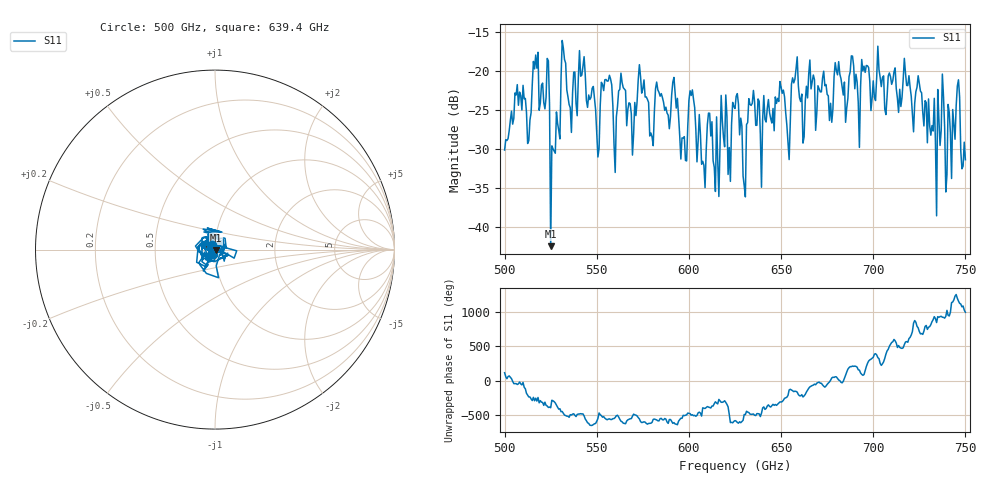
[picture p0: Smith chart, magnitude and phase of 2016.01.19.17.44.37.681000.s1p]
!Created with skrf (http://scikit-rf.org).
# GHz S RI R 50.0
!freq ReS11 ImS11
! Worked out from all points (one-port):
!   401 points, 500 GHz to 750 GHz, reference 50 ohm
!   lowest |S11| = -42.5 dB at 525 GHz (marker M1), VSWR 1.02, Z = 50.7 - j0.364 ohm
!   |S11| at or under -10 dB: start of sweep to end of sweep
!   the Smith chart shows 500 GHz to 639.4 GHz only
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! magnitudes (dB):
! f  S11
! 500 GHz  -30.1
! 506.9 GHz  -21.7
! 513.1 GHz  -28.9
! 516.9 GHz  -17.9
! 523.1 GHz  -18.3
! 525 GHz  -42.5
! 526.2 GHz  -29.9
! 531.2 GHz  -16.0
! 535.6 GHz  -24.7
! 541.9 GHz  -20.5
! 550.6 GHz  -31.0
! 553.8 GHz  -22.5
! 560 GHz  -33.0
! 562.5 GHz  -22.3
! 593.8 GHz  -23.5
! 601.9 GHz  -22.4
! 615 GHz  -25.8
! 625 GHz  -24.8
! 630 GHz  -34.7
! 633.8 GHz  -24.4
! 650.6 GHz  -22.8
! 653.8 GHz  -29.1
! 656.2 GHz  -20.8
! 687.5 GHz  -20.0
! 718.8 GHz  -21.8
! 733.1 GHz  -23.5
! 745.6 GHz  -21.9
! 750 GHz  -31.3
